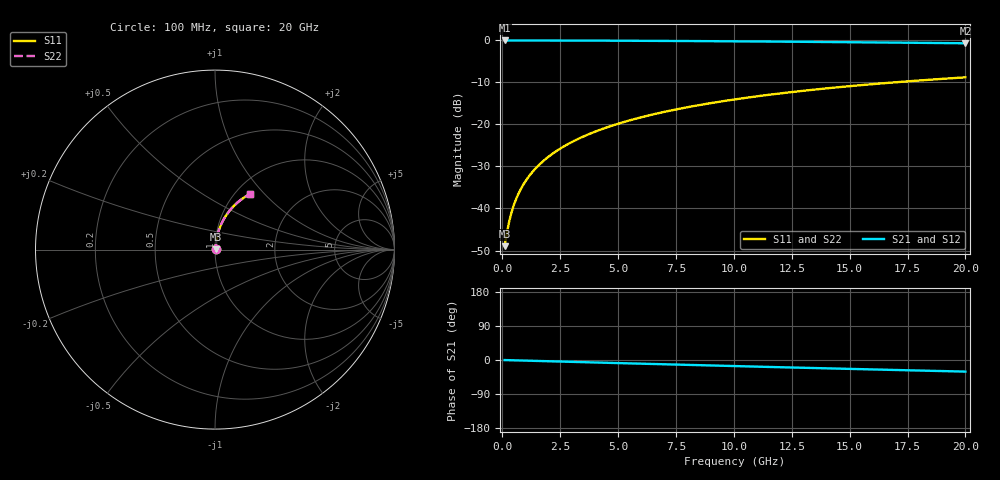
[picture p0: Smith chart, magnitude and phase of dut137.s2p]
! Touchstone file exported from HFSS 2026.1.0
!  File:  C:/ffzhzh/LocalFiles/Ansys_Project_Files/temp_train_BSMRDL_137_1782986344_6248.aedt
!  Generated:  06:00:24 PM Jul  2, 2026
!  Design:  BSMRDL
!  Project:  temp_train_BSMRDL_137_1782986344_6248
! Variables:
!  h_bsmrdl = 3.15um
!  h_ox = 20um
!  h_rdl = 5um
!  h_sub = 80um
!  h_tmrdl = 5um
!  h_tsv = 80um
!  h_via = 3um
!  l_bsmrdl = 359.78um
!  l_sub = 759.78um
!  l_tmrdl = 200um
!  m_sub = 200um
!  pitch = 53.1um
!  r_tsv = 6um
!  s_tmrdl = 10um
!  w_bsmrdl = 15.16um
!  w_sub = 500um
!  w_tmrdl = 12um
!  x_tsv_center1 = 206um
!  x_tsv_center2 = 580.94um
!  x_tsv_center3 = 792.94um
!  x_tsv_center4 = 1167.88um
!  x_tsv_center5 = 1379.88um
!  x_tsv_center6 = 1754.82um
# GHz S MA R 50.000000
! Terminal data exported
! Port[1] = BSM_RDL1_1_T1
! Port[2] = BSM_RDL1_1_T2
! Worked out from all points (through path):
!   200 points, 100 MHz to 20 GHz, reference 50 ohm
!   highest |S21| = -0.02 dB at 100 MHz (marker M1); lowest = -0.7 dB at 20 GHz (marker M2)
!   group delay of S21, straight-line fit = 4.26 ps
!   lowest |S11| = -49.0 dB at 100 MHz (marker M3), VSWR 1.01, Z = 50.3 + j0.216 ohm
!   |S11| at or under -10 dB: start of sweep to 16.92 GHz
!   |S22| runs from -49.0 to -8.8 dB; largest |S21 - S12| = 2.6e-15
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0.1  0.003561 37.1  0.9972 -0.2  0.9972 -0.2  0.003561 37.1
! Gamma 0 0 0 0
! Port Impedance 50 0 50 0
0.2  0.005174 55.8  0.9971 -0.3  0.9971 -0.3  0.005174 55.8
0.3  0.007057 64.8  0.997 -0.5  0.997 -0.5  0.007057 64.8
0.4  0.009022 69.8  0.9969 -0.7  0.9969 -0.7  0.009022 69.8
0.5  0.01101 72.9  0.9969 -0.8  0.9969 -0.8  0.01101 72.9
0.6  0.01302 75.1  0.9968 -1.0  0.9968 -1.0  0.01302 75.1
0.8  0.01704 77.7  0.9966 -1.3  0.9966 -1.3  0.01704 77.7
1.1  0.02309 79.9  0.9964 -1.8  0.9964 -1.8  0.02309 79.9
1.5  0.0312 81.2  0.9961 -2.5  0.9961 -2.5  0.0312 81.2
1.8  0.0373 81.7  0.9958 -3.0  0.9958 -3.0  0.0373 81.7
2.1  0.04339 81.9  0.9955 -3.4  0.9955 -3.4  0.04339 81.9
2.7  0.05558 81.8  0.9948 -4.4  0.9948 -4.4  0.05558 81.8
3.5  0.07177 81.2  0.9935 -5.7  0.9935 -5.7  0.07177 81.2
4.2  0.08585 80.4  0.9922 -6.9  0.9922 -6.9  0.08585 80.4
5  0.1018 79.4  0.9905 -8.1  0.9905 -8.1  0.1018 79.4
5.9  0.1196 78.2  0.9882 -9.6  0.9882 -9.6  0.1196 78.2
6.8  0.1372 76.9  0.9855 -11.0  0.9855 -11.0  0.1372 76.9
8.3  0.1659 74.7  0.9806 -13.4  0.9806 -13.4  0.1659 74.7
10.1  0.1995 72.0  0.9737 -16.2  0.9737 -16.2  0.1995 72.0
13.4  0.2582 67.2  0.9588 -21.2  0.9588 -21.2  0.2582 67.2
16.7  0.3128 62.5  0.9418 -26.0  0.9418 -26.0  0.3128 62.5
20  0.3631 58.0  0.9231 -30.6  0.9231 -30.6  0.3631 58.0
